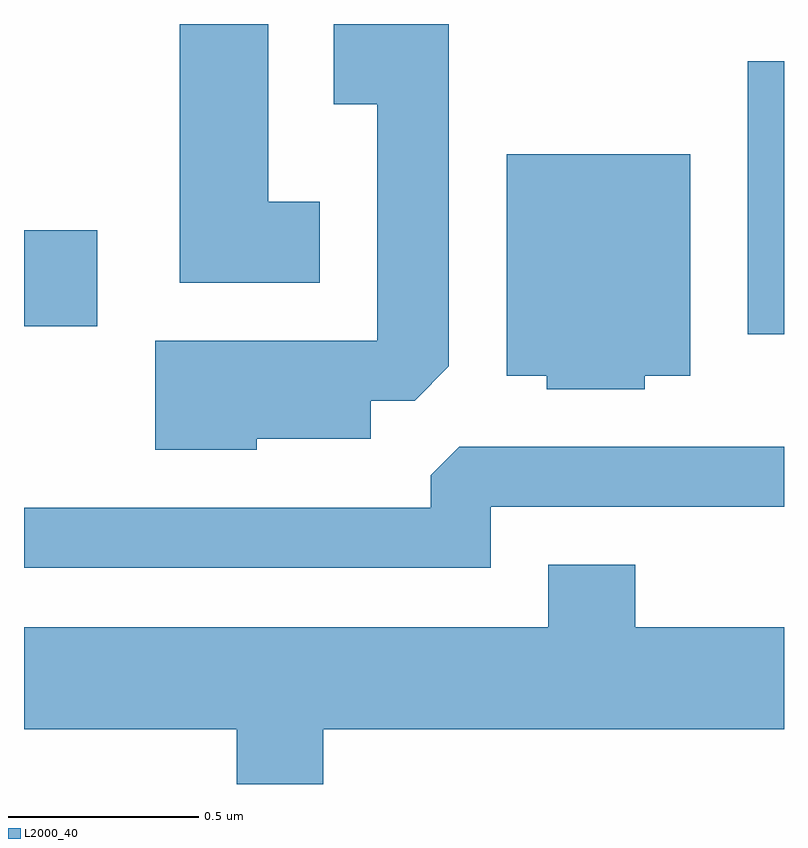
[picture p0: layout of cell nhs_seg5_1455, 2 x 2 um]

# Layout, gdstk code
import gdstk
lib = gdstk.Library(unit=1e-6, precision=1e-09)
def R(c, l, rs):  # rectangles x0, y0, x1, y1
    for r in rs: c.add(gdstk.rectangle(r[:2], r[2:], *l))
def P(c, l, *ps):  # polygons
    for p in ps: c.add(gdstk.Polygon(p, *l))
L2000_40 = (2000, 40)

nhs_seg5_1455 = lib.new_cell('nhs_seg5_1455')
R(nhs_seg5_1455, L2000_40, [(197.516,1482.256,197.611,1482.974), (195.611,1482.276,195.804,1482.529)])
P(nhs_seg5_1455, L2000_40, [(196.389,1482.604),(196.254,1482.604),(196.254,1483.072),(196.021,1483.072),(196.021,1482.391),(196.389,1482.391)],
  [(196.224,1481.981),(196.524,1481.981),(196.524,1482.081),(196.639,1482.081),(196.729,1482.172),(196.729,1483.072),(196.426,1483.072),(196.426,1482.861),(196.541,1482.861),(196.541,1482.239),(195.956,1482.239),(195.956,1481.951),(196.224,1481.951)],
  [(197.244,1482.146),(197.364,1482.146),(197.364,1482.729),(196.881,1482.729),(196.881,1482.146),(196.986,1482.146),(196.986,1482.111),(197.244,1482.111)],
  [(196.839,1481.801),(197.611,1481.801),(197.611,1481.959),(196.757,1481.959),(196.681,1481.884),(196.681,1481.799),(195.611,1481.799),(195.611,1481.641),(196.839,1481.641)],
  [(196.399,1481.216),(197.611,1481.216),(197.611,1481.484),(197.219,1481.484),(197.219,1481.649),(196.991,1481.649),(196.991,1481.484),(195.611,1481.484),(195.611,1481.216),(196.171,1481.216),(196.171,1481.072),(196.399,1481.072)])

lib.write_gds('nhs_seg5_1455.gds')
